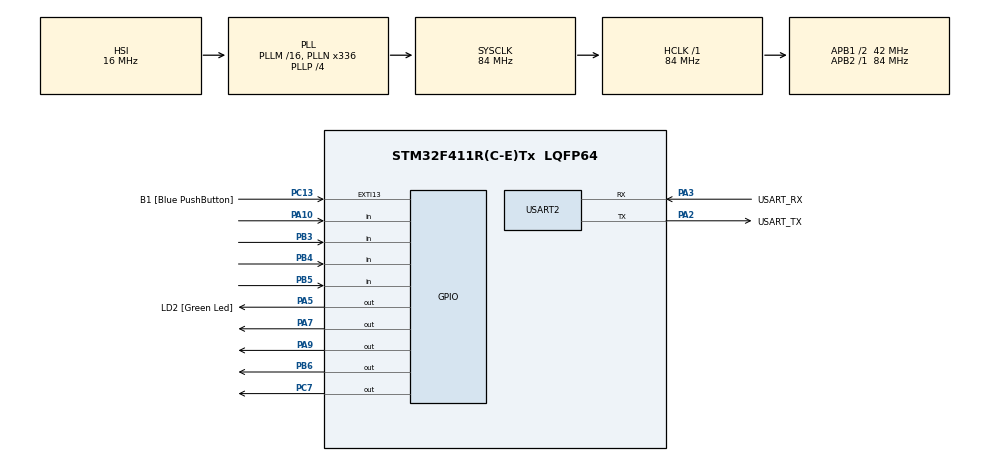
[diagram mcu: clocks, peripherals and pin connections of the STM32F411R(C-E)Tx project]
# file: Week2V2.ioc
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Mcu.Family=STM32F4
Mcu.Name=STM32F411R(C-E)Tx
Mcu.Package=LQFP64
NVIC.PriorityGroup=NVIC_PRIORITYGROUP_0
PA10.GPIO_Mode=GPIO_MODE_INPUT
PA10.GPIO_PuPd=GPIO_PULLUP
PA10.Signal=GPIO_Input
PA13.GPIO_Label=TMS
PA13.Mode=Serial_Wire
PA13.Signal=SYS_JTMS-SWDIO
PA14.GPIO_Label=TCK
PA14.Mode=Serial_Wire
PA14.Signal=SYS_JTCK-SWCLK
PA2.GPIO_Label=USART_TX
PA2.Mode=Asynchronous
PA2.Signal=USART2_TX
PA3.GPIO_Label=USART_RX
PA3.Mode=Asynchronous
PA3.Signal=USART2_RX
PA5.GPIO_Label=LD2 [Green Led]
PA5.Signal=GPIO_Output
PA7.GPIO_ModeDefaultOutputPP=GPIO_MODE_OUTPUT_OD
PA7.PinState=GPIO_PIN_SET
PA7.Signal=GPIO_Output
PA9.GPIO_ModeDefaultOutputPP=GPIO_MODE_OUTPUT_OD
PA9.PinState=GPIO_PIN_SET
PA9.Signal=GPIO_Output
PB3.GPIO_PuPd=GPIO_PULLUP
PB3.Signal=GPIO_Input
PB4.GPIO_PuPd=GPIO_PULLUP
PB4.Signal=GPIO_Input
PB5.GPIO_PuPd=GPIO_PULLUP
PB5.Signal=GPIO_Input
PB6.GPIO_ModeDefaultOutputPP=GPIO_MODE_OUTPUT_OD
PB6.PinState=GPIO_PIN_SET
PB6.Signal=GPIO_Output
PC13-ANTI_TAMP.GPIO_Label=B1 [Blue PushButton]
PC13-ANTI_TAMP.GPIO_ModeDefaultEXTI=GPIO_MODE_IT_FALLING
PC13-ANTI_TAMP.Signal=GPXTI13
PC14-OSC32_IN.Mode=LSE-External-Oscillator
PC14-OSC32_IN.Signal=RCC_OSC32_IN
PC15-OSC32_OUT.Mode=LSE-External-Oscillator
PC15-OSC32_OUT.Signal=RCC_OSC32_OUT
PC7.GPIO_ModeDefaultOutputPP=GPIO_MODE_OUTPUT_OD
PC7.PinState=GPIO_PIN_SET
PC7.Signal=GPIO_Output
PH0\ -\ OSC_IN.Mode=HSE-External-Clock-Source
PH0\ -\ OSC_IN.Signal=RCC_OSC_IN
PH1\ -\ OSC_OUT.Mode=HSE-External-Clock-Source
PH1\ -\ OSC_OUT.Signal=RCC_OSC_OUT
ProjectManager.HeapSize=0x200
ProjectManager.StackSize=0x400
ProjectManager.TargetToolchain=STM32CubeIDE
RCC.48MHZClocksFreq_Value=84000000
RCC.AHBFreq_Value=84000000
RCC.APB1CLKDivider=RCC_HCLK_DIV2
RCC.APB1Freq_Value=42000000
RCC.APB1TimFreq_Value=84000000
RCC.APB2Freq_Value=84000000
RCC.APB2TimFreq_Value=84000000
RCC.CortexFreq_Value=84000000
RCC.FLatency-AdvancedSettings=FLASH_LATENCY_2
RCC.HCLKFreq_Value=84000000
RCC.HSE_VALUE=8000000
RCC.HSI_VALUE=16000000
RCC.PLLN=336
RCC.PLLP=RCC_PLLP_DIV4
RCC.SYSCLKFreq_VALUE=84000000
RCC.SYSCLKSource=RCC_SYSCLKSOURCE_PLLCLK
RCC.VCOOutputFreq_Value=336000000
USART2.VirtualMode=VM_ASYNC
board=NUCLEO-F411RE

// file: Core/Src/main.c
/* USER CODE BEGIN Header */
/**
  ******************************************************************************
  * @file           : main.c
  * @brief          : Main program body
  ******************************************************************************
  * @attention
  *
  * <h2><center>&copy; Copyright (c) 2021 STMicroelectronics.
  * All rights reserved.</center></h2>
  *
  * This software component is licensed by ST under BSD 3-Clause license,
  * the "License"; You may not use this file except in compliance with the
  * License. You may obtain a copy of the License at:
  *                        opensource.org/licenses/BSD-3-Clause
  *
  ******************************************************************************
  */
/* USER CODE END Header */
#include "main.h"

UART_HandleTypeDef huart2;

/* USER CODE BEGIN PV */
uint16_t ButtonMatrixState = 0;
uint32_t ButtonMatrixTimestamp = 0;
int x[2];
uint16_t ID[11];
int counter = 0;
int i;
/* USER CODE END PV */

void SystemClock_Config(void);
static void MX_GPIO_Init(void);
static void MX_USART2_UART_Init(void);
/* USER CODE BEGIN PFP */
void ButtonMatrixUpdate();
/* USER CODE END PFP */

int main(void)
{

  /* MCU Configuration--------------------------------------------------------*/

  /* Reset of all peripherals, Initializes the Flash interface and the Systick. */
  HAL_Init();

  /* Configure the system clock */
  SystemClock_Config();

  /* Initialize all configured peripherals */
  MX_GPIO_Init();
  MX_USART2_UART_Init();

  /* Infinite loop */
  /* USER CODE BEGIN WHILE */
  while (1)
  {
	  ButtonMatrixUpdate();
	 	  x[0] = ButtonMatrixState;
	 	  if (x[1] == 0 && x[0] != 0){
	 		  if (x[0] == 1){
	 			  ID[counter] = 7;
	 		  }
	 		  if (x[0] == 2){
	 			  ID[counter] = 8;
	 		  }
	 		  if (x[0] == 4){
	 			  ID[counter] = 9;
	 		  }
	 		  if (x[0] == 16){
	 			  ID[counter] = 4;
	 		  }
	 		  if (x[0] == 32){
	 			  ID[counter] = 5;
	 		  }
	 		  if (x[0] == 64){
	 			  ID[counter] = 6;
	 		  }
	 		  if (x[0] == 256){
	 			  ID[counter] = 1;
	 		  }
	 		  if (x[0] == 512){
	 			  ID[counter] = 2;
	 		  }
	 		  if (x[0] == 1024){
	 			  ID[counter] = 3;
	 		  }
	 		  if (x[0] == 4096){
	 			  ID[counter] = 0;
	 		  }
	 		  if (x[0] == 8){
	 			  counter = -1;
	 			  for (i = 0 ; i<11 ; i++){
	 				  ID[i] = 0;
	 			  }
	 		  }
	 		 if (x[0] == (4096*8)){
	 		 	if(ID[0]==6&&ID[1]==2&&ID[2]==3&&ID[3]==4&&ID[4]==0&&ID[5]==5&&ID[6]==0&&ID[7]==0&&ID[8]==0&&ID[9]==4&&ID[10]==5){
	 		 		HAL_GPIO_WritePin(GPIOA, GPIO_PIN_5, 1);
	 		 	}
	 		 }
	 		  counter += 1;
	 	  }
	 	  x[1] = x[0];
    /* USER CODE END WHILE */

  }
}

void SystemClock_Config(void)
{
  RCC_OscInitTypeDef RCC_OscInitStruct = {0};
  RCC_ClkInitTypeDef RCC_ClkInitStruct = {0};

  /** Configure the main internal regulator output voltage
  */
  __HAL_RCC_PWR_CLK_ENABLE();
  __HAL_PWR_VOLTAGESCALING_CONFIG(PWR_REGULATOR_VOLTAGE_SCALE1);
  /** Initializes the RCC Oscillators according to the specified parameters
  * in the RCC_OscInitTypeDef structure.
  */
  RCC_OscInitStruct.OscillatorType = RCC_OSCILLATORTYPE_HSI;
  RCC_OscInitStruct.HSIState = RCC_HSI_ON;
  RCC_OscInitStruct.HSICalibrationValue = RCC_HSICALIBRATION_DEFAULT;
  RCC_OscInitStruct.PLL.PLLState = RCC_PLL_ON;
  RCC_OscInitStruct.PLL.PLLSource = RCC_PLLSOURCE_HSI;
  RCC_OscInitStruct.PLL.PLLM = 16;
  RCC_OscInitStruct.PLL.PLLN = 336;
  RCC_OscInitStruct.PLL.PLLP = RCC_PLLP_DIV4;
  RCC_OscInitStruct.PLL.PLLQ = 4;
  if (HAL_RCC_OscConfig(&RCC_OscInitStruct) != HAL_OK)
  {
    Error_Handler();
  }
  /** Initializes the CPU, AHB and APB buses clocks
  */
  RCC_ClkInitStruct.ClockType = RCC_CLOCKTYPE_HCLK|RCC_CLOCKTYPE_SYSCLK
                              |RCC_CLOCKTYPE_PCLK1|RCC_CLOCKTYPE_PCLK2;
  RCC_ClkInitStruct.SYSCLKSource = RCC_SYSCLKSOURCE_PLLCLK;
  RCC_ClkInitStruct.AHBCLKDivider = RCC_SYSCLK_DIV1;
  RCC_ClkInitStruct.APB1CLKDivider = RCC_HCLK_DIV2;
  RCC_ClkInitStruct.APB2CLKDivider = RCC_HCLK_DIV1;

  if (HAL_RCC_ClockConfig(&RCC_ClkInitStruct, FLASH_LATENCY_2) != HAL_OK)
  {
    Error_Handler();
  }
}

static void MX_USART2_UART_Init(void)
{

  huart2.Instance = USART2;
  huart2.Init.BaudRate = 115200;
  huart2.Init.WordLength = UART_WORDLENGTH_8B;
  huart2.Init.StopBits = UART_STOPBITS_1;
  huart2.Init.Parity = UART_PARITY_NONE;
  huart2.Init.Mode = UART_MODE_TX_RX;
  huart2.Init.HwFlowCtl = UART_HWCONTROL_NONE;
  huart2.Init.OverSampling = UART_OVERSAMPLING_16;
  if (HAL_UART_Init(&huart2) != HAL_OK)
  {
    Error_Handler();
  }

}

static void MX_GPIO_Init(void)
{
  GPIO_InitTypeDef GPIO_InitStruct = {0};

  /* GPIO Ports Clock Enable */
  __HAL_RCC_GPIOC_CLK_ENABLE();
  __HAL_RCC_GPIOH_CLK_ENABLE();
  __HAL_RCC_GPIOA_CLK_ENABLE();
  __HAL_RCC_GPIOB_CLK_ENABLE();

  /*Configure GPIO pin Output Level */
  HAL_GPIO_WritePin(LD2_GPIO_Port, LD2_Pin, GPIO_PIN_RESET);

  /*Configure GPIO pin Output Level */
  HAL_GPIO_WritePin(GPIOA, GPIO_PIN_7|GPIO_PIN_9, GPIO_PIN_SET);

  /*Configure GPIO pin Output Level */
  HAL_GPIO_WritePin(GPIOC, GPIO_PIN_7, GPIO_PIN_SET);

  /*Configure GPIO pin Output Level */
  HAL_GPIO_WritePin(GPIOB, GPIO_PIN_6, GPIO_PIN_SET);

  /*Configure GPIO pin : B1_Pin */
  GPIO_InitStruct.Pin = B1_Pin;
  GPIO_InitStruct.Mode = GPIO_MODE_IT_FALLING;
  GPIO_InitStruct.Pull = GPIO_NOPULL;
  HAL_GPIO_Init(B1_GPIO_Port, &GPIO_InitStruct);

  /*Configure GPIO pin : LD2_Pin */
  GPIO_InitStruct.Pin = LD2_Pin;
  GPIO_InitStruct.Mode = GPIO_MODE_OUTPUT_PP;
  GPIO_InitStruct.Pull = GPIO_NOPULL;
  GPIO_InitStruct.Speed = GPIO_SPEED_FREQ_LOW;
  HAL_GPIO_Init(LD2_GPIO_Port, &GPIO_InitStruct);

  /*Configure GPIO pins : PA7 PA9 */
  GPIO_InitStruct.Pin = GPIO_PIN_7|GPIO_PIN_9;
  GPIO_InitStruct.Mode = GPIO_MODE_OUTPUT_OD;
  GPIO_InitStruct.Pull = GPIO_NOPULL;
  GPIO_InitStruct.Speed = GPIO_SPEED_FREQ_LOW;
  HAL_GPIO_Init(GPIOA, &GPIO_InitStruct);

  /*Configure GPIO pin : PC7 */
  GPIO_InitStruct.Pin = GPIO_PIN_7;
  GPIO_InitStruct.Mode = GPIO_MODE_OUTPUT_OD;
  GPIO_InitStruct.Pull = GPIO_NOPULL;
  GPIO_InitStruct.Speed = GPIO_SPEED_FREQ_LOW;
  HAL_GPIO_Init(GPIOC, &GPIO_InitStruct);

  /*Configure GPIO pin : PA10 */
  GPIO_InitStruct.Pin = GPIO_PIN_10;
  GPIO_InitStruct.Mode = GPIO_MODE_INPUT;
  GPIO_InitStruct.Pull = GPIO_PULLUP;
  HAL_GPIO_Init(GPIOA, &GPIO_InitStruct);

  /*Configure GPIO pins : PB3 PB4 PB5 */
  GPIO_InitStruct.Pin = GPIO_PIN_3|GPIO_PIN_4|GPIO_PIN_5;
  GPIO_InitStruct.Mode = GPIO_MODE_INPUT;
  GPIO_InitStruct.Pull = GPIO_PULLUP;
  HAL_GPIO_Init(GPIOB, &GPIO_InitStruct);

  /*Configure GPIO pin : PB6 */
  GPIO_InitStruct.Pin = GPIO_PIN_6;
  GPIO_InitStruct.Mode = GPIO_MODE_OUTPUT_OD;
  GPIO_InitStruct.Pull = GPIO_NOPULL;
  GPIO_InitStruct.Speed = GPIO_SPEED_FREQ_LOW;
  HAL_GPIO_Init(GPIOB, &GPIO_InitStruct);

}

/* USER CODE BEGIN 4 */

GPIO_TypeDef* ButtonMatrixPort[8] =
{GPIOA,GPIOB,GPIOB,GPIOB,GPIOA,GPIOC,GPIOB,GPIOA};
uint16_t ButtonMatrixPin[8] =
{GPIO_PIN_10,GPIO_PIN_3,GPIO_PIN_5,GPIO_PIN_4,GPIO_PIN_9,GPIO_PIN_7,GPIO_PIN_6,GPIO_PIN_7};
uint8_t ButtonMatrixRow = 0; //R
void ButtonMatrixUpdate(){
	if(HAL_GetTick()- ButtonMatrixTimestamp >= 100){
		ButtonMatrixTimestamp = HAL_GetTick();
		int i;
		for(i=0;i<4;i++){
			GPIO_PinState Pinstate = HAL_GPIO_ReadPin(ButtonMatrixPort[i], ButtonMatrixPin[i]);
			if(Pinstate == GPIO_PIN_RESET){
				ButtonMatrixState |= (uint16_t)0x1 <<(i+ButtonMatrixRow*4);
			}
			else{
				ButtonMatrixState &= ~((uint16_t)0x1 <<(i+ButtonMatrixRow*4));
			}
		}
		uint8_t NowOutputpin = ButtonMatrixRow +4;
		HAL_GPIO_WritePin(ButtonMatrixPort[NowOutputpin], ButtonMatrixPin[NowOutputpin], GPIO_PIN_SET);
		ButtonMatrixRow = (ButtonMatrixRow+1) % 4;
		uint8_t NextOutputpin = ButtonMatrixRow +4;
		HAL_GPIO_WritePin(ButtonMatrixPort[NextOutputpin], ButtonMatrixPin[NextOutputpin], GPIO_PIN_RESET);
	}
}
/* USER CODE END 4 */

void Error_Handler(void)
{
  __disable_irq();
  while (1)
  {
  }
}

/************************ (C) COPYRIGHT STMicroelectronics *****END OF FILE****/
